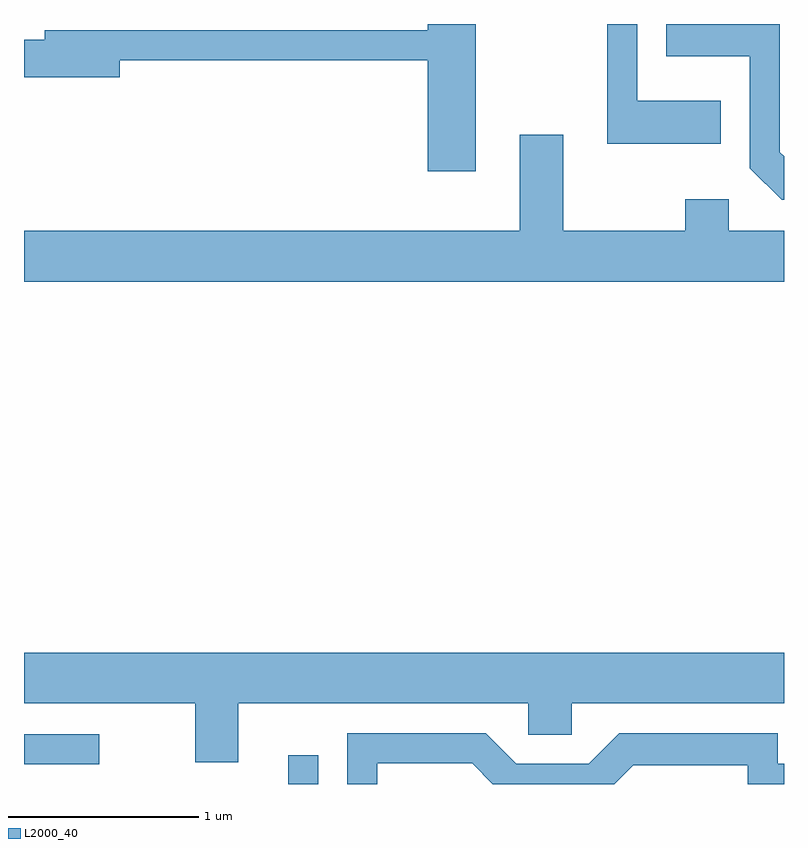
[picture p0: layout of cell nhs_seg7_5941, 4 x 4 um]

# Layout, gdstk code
import gdstk
lib = gdstk.Library(unit=1e-6, precision=1e-09)
def R(c, l, rs):  # rectangles x0, y0, x1, y1
    for r in rs: c.add(gdstk.rectangle(r[:2], r[2:], *l))
def P(c, l, *ps):  # polygons
    for p in ps: c.add(gdstk.Polygon(p, *l))
L2000_40 = (2000, 40)

nhs_seg7_5941 = lib.new_cell('nhs_seg7_5941')
R(nhs_seg7_5941, L2000_40, [(367.001,1798.252,367.159,1798.403), (365.611,1798.356,366.008,1798.514)])
P(nhs_seg7_5941, L2000_40, [(367.989,1802.252),(367.736,1802.252),(367.736,1802.219),(365.721,1802.219),(365.721,1802.169),(365.611,1802.169),(365.611,1801.971),(366.114,1801.971),(366.114,1802.061),(367.736,1802.061),(367.736,1801.476),(367.989,1801.476)],
  [(369.611,1801.555),(369.589,1801.577),(369.589,1802.252),(368.991,1802.252),(368.991,1802.081),(369.431,1802.081),(369.431,1801.494),(369.599,1801.326),(369.611,1801.326)],
  [(369.279,1801.849),(368.839,1801.849),(368.839,1802.252),(368.681,1802.252),(368.681,1801.621),(369.279,1801.621)],
  [(369.611,1801.164),(369.319,1801.164),(369.319,1801.329),(369.091,1801.329),(369.091,1801.164),(368.449,1801.164),(368.449,1801.669),(368.221,1801.669),(368.221,1801.164),(365.611,1801.164),(365.611,1800.896),(369.611,1800.896)],
  [(366.739,1798.676),(368.266,1798.676),(368.266,1798.511),(368.494,1798.511),(368.494,1798.676),(369.611,1798.676),(369.611,1798.944),(365.611,1798.944),(365.611,1798.676),(366.511,1798.676),(366.511,1798.366),(366.739,1798.366)],
  [(367.469,1798.361),(367.969,1798.361),(368.078,1798.252),(368.718,1798.252),(368.817,1798.351),(369.421,1798.351),(369.421,1798.252),(369.611,1798.252),(369.611,1798.359),(369.579,1798.359),(369.579,1798.519),(368.744,1798.519),(368.584,1798.359),(368.202,1798.359),(368.042,1798.519),(367.311,1798.519),(367.311,1798.252),(367.469,1798.252)])

lib.write_gds('nhs_seg7_5941.gds')
